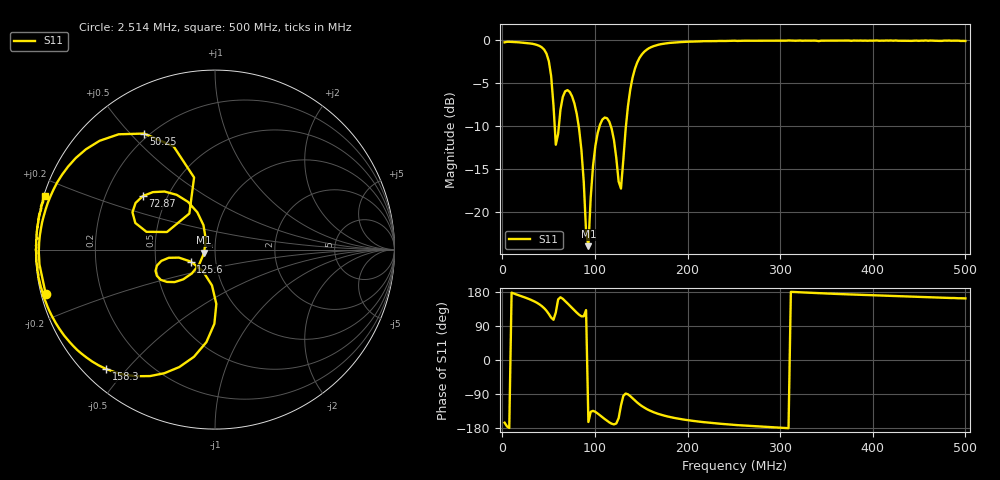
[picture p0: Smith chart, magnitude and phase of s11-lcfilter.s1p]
! ListType=Lin
! Comment=55-131MHz Chebychev LC Filter
# Hz S RI R 50
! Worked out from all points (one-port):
!   199 points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, 2.514 MHz to 500 MHz, reference 50 ohm
!   lowest |S11| = -24.0 dB at 92.97 MHz (marker M1), VSWR 1.13, Z = 44.3 - j1.59 ohm
!   |S11| at or under -10 dB: 56.61 MHz to 61.1 MHz (4.496 MHz wide, 7.64 % of centre); 82.49 MHz to 105.1 MHz (22.58 MHz wide, 24.1 % of centre); 117.2 MHz to 133.5 MHz (16.33 MHz wide, 13 % of centre)
!   S11 on the Smith chart (normalised r, x): 2.514 MHz: 0.01, -0.13; 50.25 MHz: 0.18, +0.55; 72.87 MHz: 0.36, +0.29; 125.6 MHz: 0.76, -0.10; 158.3 MHz: 0.06, -0.44; 500 MHz: 0.00, +0.15
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2513558  -0.9435 -0.2452
7538673  -0.9819 -0.0112
3.517681e7  -0.8525 0.4167
4.271448e7  -0.7194 0.5588
5.025216e7  -0.3943 0.6464
5.527727e7  -0.1165 0.4017
5.778983e7  -0.1428 0.201
6.030239e7  -0.2678 0.098
6.53275e7  -0.4441 0.1485
7.286518e7  -0.4023 0.2982
8.291541e7  -0.1505 0.2661
8.794052e7  -0.0642 0.136
9.045308e7  -0.0514 0.0577
9.296564e7  -0.0606 -0.0179
9.799075e7  -0.1295 -0.1333
1.08041e8  -0.3015 -0.1689
1.180912e8  -0.2991 -0.063
1.256289e8  -0.1346 -0.067
1.281414e8  -0.0687 -0.1184
1.331666e8  0.00745 -0.303
1.407042e8  -0.117 -0.5972
1.582921e8  -0.6064 -0.6654
1.909554e8  -0.8869 -0.4096
2.512568e8  -0.9848 -0.1487
3.140707e8  -0.997 0.00839
3.768847e8  -0.9866 0.1257
4.396986e8  -0.9705 0.2191
5e8  -0.9469 0.2975
